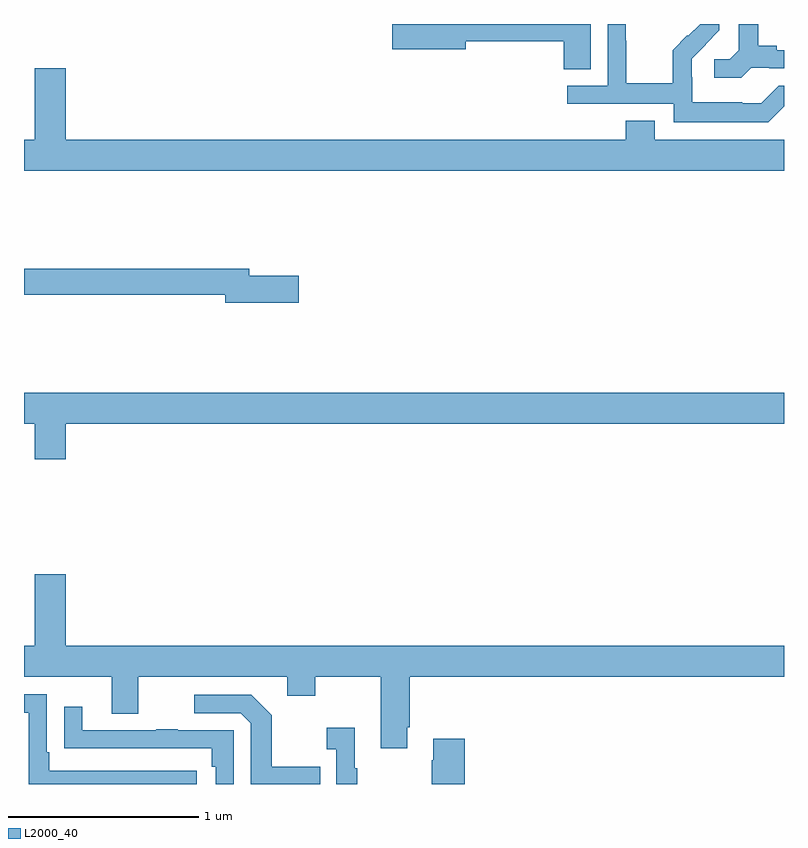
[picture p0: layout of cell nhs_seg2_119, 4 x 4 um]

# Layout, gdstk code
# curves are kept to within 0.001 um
import gdstk
lib = gdstk.Library(unit=1e-6, precision=1e-09)
def P(c, l, *ps):  # polygons
    for p in ps: c.add(gdstk.Polygon(p, *l))
L2000_40 = (2000, 40)

nhs_seg2_119 = lib.new_cell('nhs_seg2_119')
P(nhs_seg2_119, L2000_40, [(119.983,589.8),(118.938,589.8),(118.938,589.666),(119.326,589.666),(119.326,589.708),(119.84,589.708),(119.84,589.561),(119.983,589.561)],
  [(121,589.366),(121,589.476),(120.972,589.476),(120.879,589.383),(120.779,589.383),(120.779,589.387),(120.516,589.387),(120.516,589.521),(120.514,589.521),(120.514,589.618),(120.66,589.766),(120.66,589.8),(120.558,589.8),(120.495,589.737),(120.492,589.74),(120.415,589.663),(120.415,589.489),(120.171,589.489),(120.171,589.712),(120.168,589.712),(120.168,589.8),(120.072,589.8),(120.072,589.476),(119.859,589.476),(119.859,589.38),(120.42,589.38),(120.42,589.283),(120.917,589.283)],
  [(120.828,589.569),(120.922,589.569),(120.922,589.566),(121,589.566),(121,589.662),(120.961,589.662),(120.961,589.685),(120.865,589.685),(120.865,589.8),(120.761,589.8),(120.761,589.661),(120.714,589.614),(120.633,589.614),(120.633,589.517),(120.776,589.517)],
  [(121,589.192),(120.319,589.192),(120.319,589.291),(120.167,589.291),(120.167,589.192),(117.22,589.192),(117.22,589.567),(117.056,589.567),(117.056,589.192),(117,589.192),(117,589.028),(121,589.028)],
  [(118.447,588.476),(118.186,588.476),(118.186,588.512),(117,588.512),(117,588.376),(118.058,588.376),(118.058,588.334),(118.447,588.334)],
  [(117.22,587.696),(121,587.696),(121,587.86),(117,587.86),(117,587.696),(117.056,587.696),(117.056,587.508),(117.22,587.508)],
  [(119.017,586.099),(119.03,586.099),(119.03,586.364),(121,586.364),(121,586.528),(117.22,586.528),(117.22,586.903),(117.056,586.903),(117.056,586.528),(117,586.528),(117,586.364),(117.461,586.364),(117.461,586.17),(117.601,586.17),(117.601,586.364),(118.385,586.364),(118.385,586.265),(118.533,586.265),(118.533,586.364),(118.877,586.364),(118.877,585.987),(119.017,585.987)],
  [(117.91,585.87),(117.133,585.87),(117.133,585.967),(117.12,585.967),(117.12,586.272),(117,586.272),(117,586.176),(117.024,586.176),(117.024,585.8),(117.91,585.8)],
  [(118.559,585.891),(118.303,585.891),(118.303,586.163),(118.197,586.269),(117.897,586.269),(117.897,586.173),(118.14,586.173),(118.194,586.119),(118.194,585.8),(118.559,585.8)],
  [(118.104,586.083),(117.809,586.083),(117.809,586.088),(117.697,586.088),(117.697,586.083),(117.307,586.083),(117.307,586.207),(117.211,586.207),(117.211,585.988),(117.313,585.988),(117.313,585.987),(117.988,585.987),(117.988,585.89),(118.008,585.89),(118.008,585.8),(118.104,585.8)],
  [(118.753,585.883),(118.741,585.883),(118.741,586.096),(118.593,586.096),(118.593,585.983),(118.644,585.983),(118.644,585.8),(118.753,585.8)],
  [(119.321,586.039),(119.153,586.039),(119.153,585.926),(119.146,585.926),(119.146,585.8),(119.321,585.8)])

lib.write_gds('nhs_seg2_119.gds')
